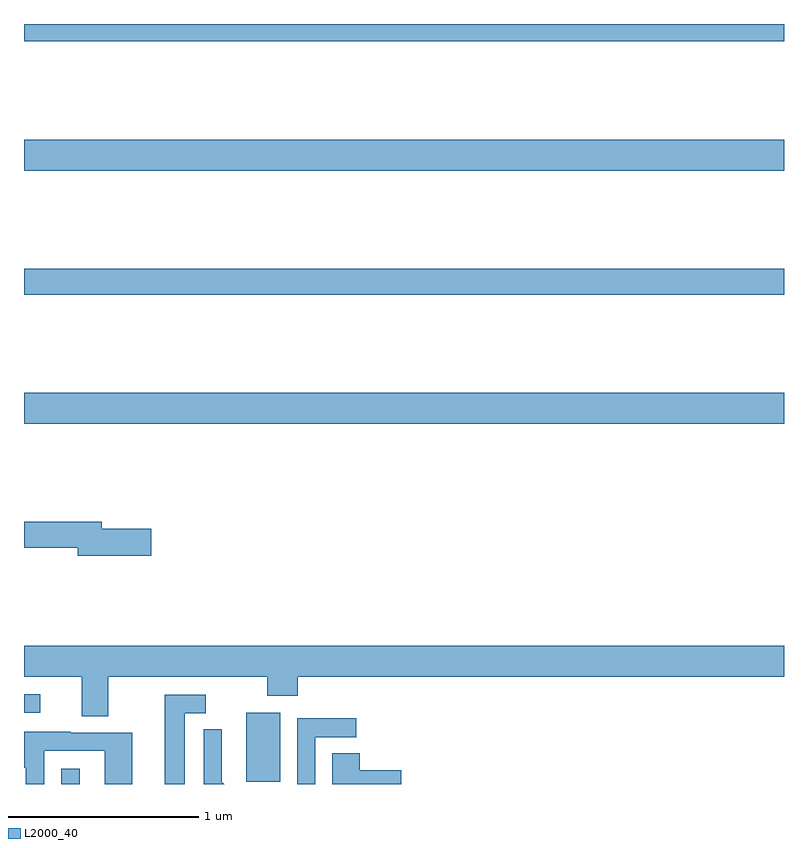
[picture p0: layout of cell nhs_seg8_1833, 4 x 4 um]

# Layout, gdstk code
import gdstk
lib = gdstk.Library(unit=1e-6, precision=1e-09)
def R(c, l, rs):  # rectangles x0, y0, x1, y1
    for r in rs: c.add(gdstk.rectangle(r[:2], r[2:], *l))
def P(c, l, *ps):  # polygons
    for p in ps: c.add(gdstk.Polygon(p, *l))
L2000_40 = (2000, 40)

nhs_seg8_1833 = lib.new_cell('nhs_seg8_1833')
R(nhs_seg8_1833, L2000_40, [(227.196,1151.9,227.293,1151.98), (228.17,1151.913,228.349,1152.274), (227,1152.276,227.086,1152.372), (227,1153.796,231,1153.96), (227,1154.476,231,1154.612), (227,1155.128,231,1155.292), (227,1155.808,231,1155.9)])
P(nhs_seg8_1833, L2000_40, [(227.671,1153.244),(227.41,1153.244),(227.41,1153.28),(227,1153.28),(227,1153.144),(227.282,1153.144),(227.282,1153.102),(227.671,1153.102)],
  [(227.443,1152.464),(228.28,1152.464),(228.28,1152.365),(228.44,1152.365),(228.44,1152.464),(231,1152.464),(231,1152.628),(227,1152.628),(227,1152.464),(227.303,1152.464),(227.303,1152.256),(227.443,1152.256)],
  [(227.845,1152.273),(227.956,1152.273),(227.956,1152.369),(227.741,1152.369),(227.741,1151.9),(227.845,1151.9)],
  [(228.534,1152.147),(228.748,1152.147),(228.748,1152.246),(228.438,1152.246),(228.438,1151.9),(228.534,1151.9)],
  [(228.041,1151.912),(228.041,1152.034),(228.042,1152.034),(228.042,1152.188),(227.946,1152.188),(227.946,1151.9),(228.053,1151.9)],
  [(227.106,1152.075),(227.424,1152.075),(227.424,1151.9),(227.569,1151.9),(227.569,1152.171),(227.245,1152.171),(227.245,1152.175),(227,1152.175),(227,1151.985),(227.01,1151.985),(227.01,1151.9),(227.106,1151.9)],
  [(228.985,1151.972),(228.767,1151.972),(228.767,1152.062),(228.623,1152.062),(228.623,1151.9),(228.985,1151.9)])

lib.write_gds('nhs_seg8_1833.gds')
